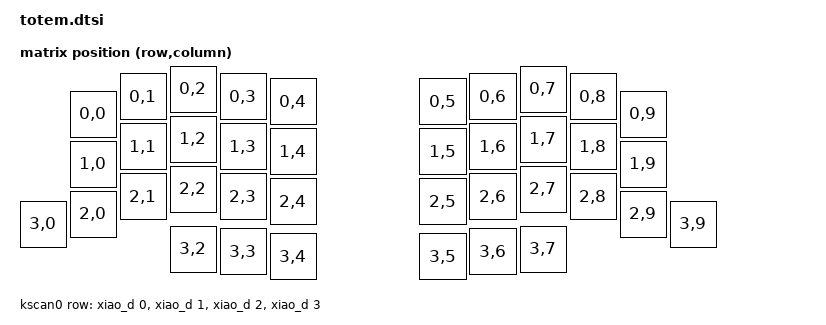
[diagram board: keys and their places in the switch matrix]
/*
 * Copyright (c) 2022 The ZMK Contributors
 *
 * SPDX-License-Identifier: MIT
 */

#include <dt-bindings/zmk/matrix_transform.h>
#include <physical_layouts.dtsi>

/ {
    chosen {
        zmk,physical-layout = &totem_physical_layout;
    };

    totem_physical_layout: totem_physical_layout {
        compatible = "zmk,physical-layout";
        display-name = "TOTEM";
        transform = <&default_transform>;
        kscan = <&kscan0>;

        keys  //                     w   h     x    y     rot    rx    ry
            = <&key_physical_attrs 100 100   100   50       0     0     0>
            , <&key_physical_attrs 100 100   200   15       0     0     0>
            , <&key_physical_attrs 100 100   300    0       0     0     0>
            , <&key_physical_attrs 100 100   400   15       0     0     0>
            , <&key_physical_attrs 100 100   500   25       0     0     0>
            , <&key_physical_attrs 100 100   800   25       0     0     0>
            , <&key_physical_attrs 100 100   900   15       0     0     0>
            , <&key_physical_attrs 100 100  1000    0       0     0     0>
            , <&key_physical_attrs 100 100  1100   15       0     0     0>
            , <&key_physical_attrs 100 100  1200   50       0     0     0>
            , <&key_physical_attrs 100 100   100  150       0     0     0>
            , <&key_physical_attrs 100 100   200  115       0     0     0>
            , <&key_physical_attrs 100 100   300  100       0     0     0>
            , <&key_physical_attrs 100 100   400  115       0     0     0>
            , <&key_physical_attrs 100 100   500  125       0     0     0>
            , <&key_physical_attrs 100 100   800  125       0     0     0>
            , <&key_physical_attrs 100 100   900  115       0     0     0>
            , <&key_physical_attrs 100 100  1000  100       0     0     0>
            , <&key_physical_attrs 100 100  1100  115       0     0     0>
            , <&key_physical_attrs 100 100  1200  150       0     0     0>
            , <&key_physical_attrs 100 100     0  270       0     0     0>
            , <&key_physical_attrs 100 100   100  250       0     0     0>
            , <&key_physical_attrs 100 100   200  215       0     0     0>
            , <&key_physical_attrs 100 100   300  200       0     0     0>
            , <&key_physical_attrs 100 100   400  215       0     0     0>
            , <&key_physical_attrs 100 100   500  225       0     0     0>
            , <&key_physical_attrs 100 100   800  225       0     0     0>
            , <&key_physical_attrs 100 100   900  215       0     0     0>
            , <&key_physical_attrs 100 100  1000  200       0     0     0>
            , <&key_physical_attrs 100 100  1100  215       0     0     0>
            , <&key_physical_attrs 100 100  1200  250       0     0     0>
            , <&key_physical_attrs 100 100  1300  270       0     0     0>
            , <&key_physical_attrs 100 100   300  320       0     0     0>
            , <&key_physical_attrs 100 100   400  325       0     0     0>
            , <&key_physical_attrs 100 100   500  335       0     0     0>
            , <&key_physical_attrs 100 100   800  335       0     0     0>
            , <&key_physical_attrs 100 100   900  325       0     0     0>
            , <&key_physical_attrs 100 100  1000  320       0     0     0>
            ;
    };

    default_transform: keymap_transform_0 {
        compatible = "zmk,matrix-transform";
        columns = <10>;
        rows = <4>;
//             | SW01  | SW02  | SW03  | SW04  | SW05  |  | SW05  | SW04  | SW03  | SW02  | SW01  |
//             | SW06  | SW07  | SW08  | SW09  | SW10  |  | SW10  | SW09  | SW08  | SW07  | SW06  | 
//      | SW16 | SW11  | SW12  | SW13  | SW14  | SW15  |  | SW15  | SW14  | SW13  | SW12  | SW11  | SW16  |
//                             | SW17  | SW18  | SW19  |  | SW19  | SW18  | SW17  | 
        map = <
                RC(0,0) RC(0,1) RC(0,2) RC(0,3) RC(0,4)    RC(0,5) RC(0,6) RC(0,7) RC(0,8) RC(0,9)
                RC(1,0) RC(1,1) RC(1,2) RC(1,3) RC(1,4)    RC(1,5) RC(1,6) RC(1,7) RC(1,8) RC(1,9)
        RC(3,0) RC(2,0) RC(2,1) RC(2,2) RC(2,3) RC(2,4)    RC(2,5) RC(2,6) RC(2,7) RC(2,8) RC(2,9) RC(3,9)
                                RC(3,2) RC(3,3) RC(3,4)    RC(3,5) RC(3,6) RC(3,7)         
        >;
    };


    kscan0: kscan_0 {
        compatible = "zmk,kscan-gpio-matrix";
        
        diode-direction = "col2row"; 
        row-gpios
            = <&xiao_d 0 (GPIO_ACTIVE_HIGH | GPIO_PULL_DOWN)>
            , <&xiao_d 1 (GPIO_ACTIVE_HIGH | GPIO_PULL_DOWN)>
            , <&xiao_d 2 (GPIO_ACTIVE_HIGH | GPIO_PULL_DOWN)>
            , <&xiao_d 3 (GPIO_ACTIVE_HIGH | GPIO_PULL_DOWN)>
            ;
    };
};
